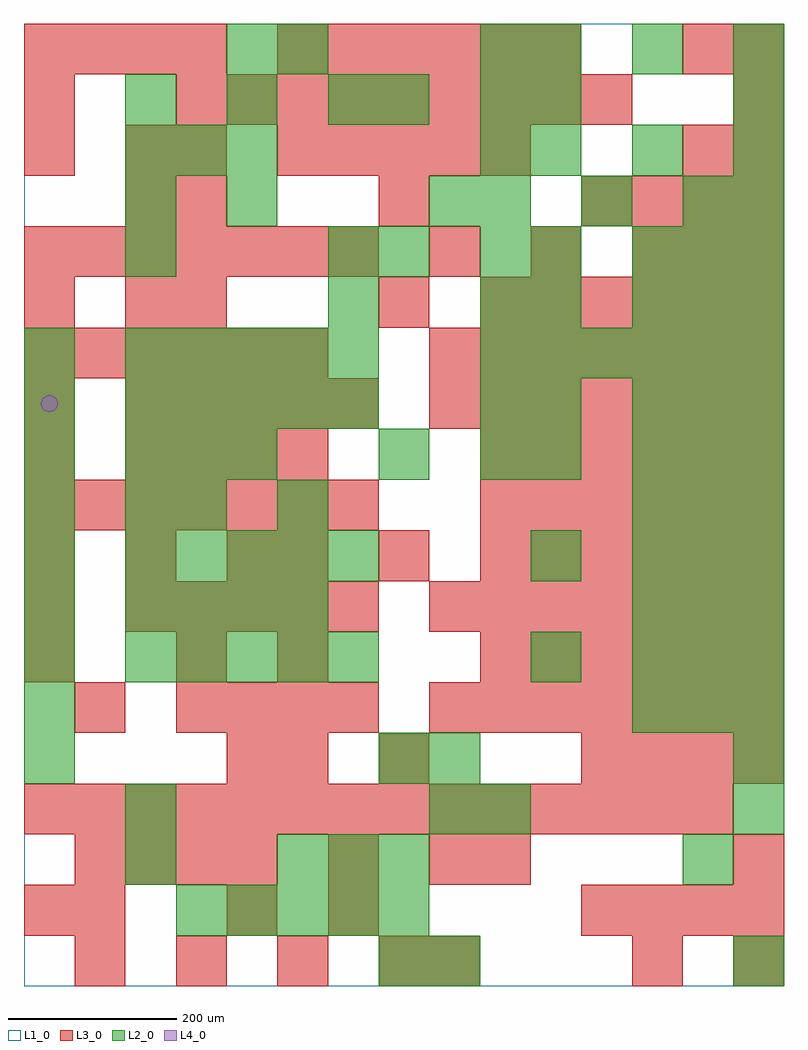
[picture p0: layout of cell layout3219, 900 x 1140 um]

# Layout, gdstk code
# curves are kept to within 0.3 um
import gdstk
lib = gdstk.Library(unit=1e-6, precision=1e-09)
def R(c, l, rs):  # rectangles x0, y0, x1, y1
    for r in rs: c.add(gdstk.rectangle(r[:2], r[2:], *l))
def A(c, l, x, y, w, h, nx, ny, dx, dy):  # array of equal rectangles
    R(c, l, [(x+i*dx, y+j*dy, x+i*dx+w, y+j*dy+h) for i in range(nx) for j in range(ny)])
def P(c, l, *ps):  # polygons
    for p in ps: c.add(gdstk.Polygon(p, *l))
L1_0 = (1, 0)
L2_0 = (2, 0)
L3_0 = (3, 0)
L4_0 = (4, 0)

layout3219 = lib.new_cell('layout3219')
R(layout3219, L1_0, [(0,0,900,1140)])
A(layout3219, L2_0, 180, 60, 60, 60, 5, 1, 60, 0)
A(layout3219, L2_0, 300, 120, 60, 60, 3, 1, 60, 0)
A(layout3219, L2_0, 0, 240, 60, 60, 1, 9, 0, 60)
A(layout3219, L2_0, 720, 300, 60, 60, 3, 7, 60, 60)
A(layout3219, L2_0, 120, 360, 60, 60, 5, 2, 60, 120)
A(layout3219, L2_0, 600, 360, 60, 60, 1, 3, 0, 120)
A(layout3219, L2_0, 120, 420, 60, 60, 4, 1, 60, 0)
A(layout3219, L2_0, 120, 600, 60, 60, 3, 2, 60, 360)
A(layout3219, L2_0, 120, 660, 60, 60, 5, 2, 60, 60)
A(layout3219, L2_0, 540, 720, 60, 60, 6, 1, 60, 0)
A(layout3219, L2_0, 720, 780, 60, 60, 3, 2, 60, 60)
A(layout3219, L2_0, 540, 900, 60, 60, 3, 1, 120, 0)
A(layout3219, L2_0, 540, 960, 60, 60, 1, 3, 0, 60)
A(layout3219, L2_0, 600, 960, 60, 60, 3, 2, 120, 120)
A(layout3219, L2_0, 120, 1020, 60, 60, 3, 1, 120, 0)
R(layout3219, L2_0, [(420,0,480,60), (480,0,540,60), (840,0,900,60), (120,120,180,180), (780,120,840,180), (120,180,180,240), (480,180,540,240), (540,180,600,240), (840,180,900,240), (420,240,480,300), (480,240,540,300), (840,240,900,300), (120,540,180,600), (180,540,240,600), (300,540,360,600), (420,600,480,660), (540,600,600,660), (540,660,600,720), (600,660,660,720), (360,780,420,840), (540,780,600,840), (600,780,660,840), (120,840,180,900), (360,840,420,900), (420,840,480,900), (540,840,600,900), (600,840,660,900), (120,900,180,960), (240,900,300,960), (480,900,540,960), (840,900,900,960), (420,1020,480,1080), (600,1020,660,1080), (840,1020,900,1080), (240,1080,300,1140), (300,1080,360,1140)])
A(layout3219, L3_0, 60, 0, 60, 60, 4, 1, 120, 0)
A(layout3219, L3_0, 660, 60, 60, 60, 4, 2, 60, 180)
A(layout3219, L3_0, 60, 120, 60, 60, 4, 1, 60, 0)
A(layout3219, L3_0, 0, 180, 60, 60, 14, 1, 60, 0)
A(layout3219, L3_0, 180, 300, 60, 60, 4, 1, 60, 0)
A(layout3219, L3_0, 480, 300, 60, 60, 7, 2, 60, 120)
A(layout3219, L3_0, 540, 360, 60, 60, 6, 2, 60, 180)
A(layout3219, L3_0, 120, 420, 60, 60, 5, 2, 60, 240)
A(layout3219, L3_0, 0, 480, 60, 60, 3, 1, 120, 0)
A(layout3219, L3_0, 300, 480, 60, 60, 3, 1, 120, 0)
A(layout3219, L3_0, 600, 480, 60, 60, 5, 1, 60, 0)
A(layout3219, L3_0, 0, 540, 60, 60, 7, 2, 60, 300)
A(layout3219, L3_0, 120, 600, 60, 60, 4, 1, 60, 0)
A(layout3219, L3_0, 540, 600, 60, 60, 6, 2, 60, 180)
A(layout3219, L3_0, 480, 660, 60, 60, 7, 2, 60, 60)
A(layout3219, L3_0, 0, 720, 60, 60, 6, 1, 60, 0)
A(layout3219, L3_0, 480, 840, 60, 60, 3, 1, 120, 0)
A(layout3219, L3_0, 780, 840, 60, 60, 1, 3, 0, 120)
A(layout3219, L3_0, 180, 900, 60, 60, 3, 1, 240, 0)
A(layout3219, L3_0, 720, 900, 60, 60, 3, 1, 60, 0)
A(layout3219, L3_0, 300, 960, 60, 60, 5, 1, 60, 0)
A(layout3219, L3_0, 840, 960, 60, 60, 1, 3, 0, 60)
A(layout3219, L3_0, 180, 1020, 60, 60, 9, 1, 60, 0)
A(layout3219, L3_0, 0, 1080, 60, 60, 4, 1, 60, 0)
A(layout3219, L3_0, 300, 1080, 60, 60, 6, 1, 60, 0)
R(layout3219, L3_0, [(480,0,540,60), (720,0,780,60), (840,0,900,60), (0,60,60,120), (60,60,120,120), (240,60,300,120), (360,60,420,120), (360,120,420,180), (480,120,540,180), (540,120,600,180), (840,120,900,180), (240,240,300,300), (300,240,360,300), (420,240,480,300), (60,300,120,360), (0,360,60,420), (180,360,240,420), (300,360,360,420), (0,420,60,480), (0,600,60,660), (0,660,60,720), (0,780,60,840), (120,780,180,840), (180,780,240,840), (420,780,480,840), (840,840,900,900), (120,900,180,960), (0,960,60,1020), (120,960,180,1020), (180,960,240,1020), (0,1020,60,1080)])
P(layout3219, L4_0, [(40,690),(39.239,693.827),(37.071,697.071),(33.827,699.239),(30,700),(26.173,699.239),(22.929,697.071),(20.761,693.827),(20,690),(20.761,686.173),(22.929,682.929),(26.173,680.761),(30,680),(33.827,680.761),(37.071,682.929),(39.239,686.173)])

lib.write_gds('layout3219.gds')
